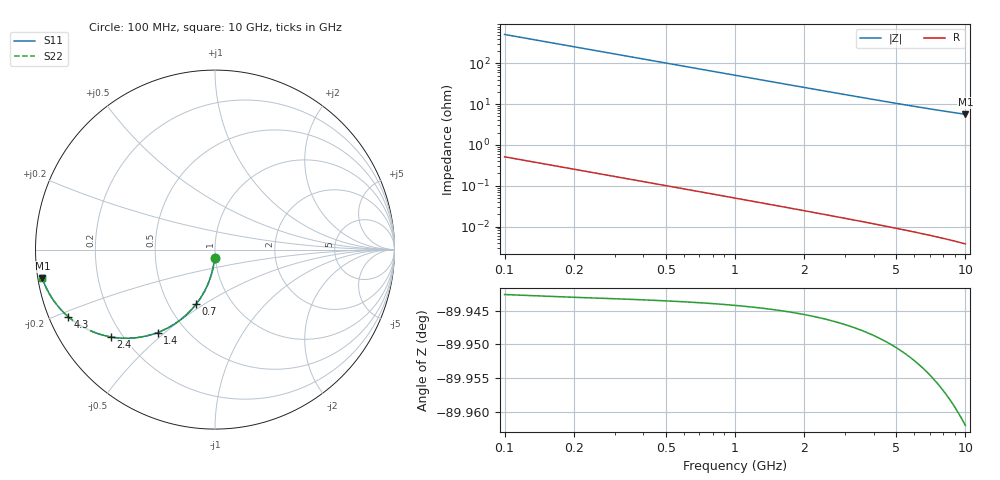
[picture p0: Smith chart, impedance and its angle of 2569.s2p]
# Hz S RI R 50.00
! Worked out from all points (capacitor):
!   100 points, 100 MHz to 10 GHz, reference 50 ohm
!   read as one part in shunt: C = 3.11 pF near 100 MHz
!   lowest |Z| = 5.65 ohm at 10 GHz (marker M1)
!   S11 on the Smith chart (normalised r, x): 100 MHz: 0.99, -0.10; 700 MHz: 0.68, -0.46; 1.4 GHz: 0.35, -0.47; 2.4 GHz: 0.16, -0.36; 4.3 GHz: 0.06, -0.22; 10 GHz: 0.01, -0.08
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1e8  -0.00237 -0.0485  0.9975 -0.049  0.9975 -0.049  -0.00237 -0.0485
2e8  -0.0095 -0.0963  0.9904 -0.0974  0.9904 -0.0974  -0.0095 -0.0963
3e8  -0.0211 -0.1427  0.9787 -0.1443  0.9787 -0.1443  -0.0211 -0.1427
4e8  -0.0369 -0.1872  0.9629 -0.1893  0.9629 -0.1893  -0.0369 -0.1872
5e8  -0.0565 -0.2292  0.9433 -0.2319  0.9433 -0.2319  -0.0565 -0.2292
6e8  -0.0794 -0.2684  0.9205 -0.2715  0.9205 -0.2715  -0.0794 -0.2684
7e8  -0.105 -0.3043  0.8949 -0.308  0.8949 -0.308  -0.105 -0.3043
8e8  -0.1329 -0.3369  0.867 -0.3411  0.867 -0.3411  -0.1329 -0.3369
1e9  -0.1931 -0.3916  0.8068 -0.3969  0.8068 -0.3969  -0.1931 -0.3916
1.2e9  -0.2562 -0.4329  0.7436 -0.4393  0.7436 -0.4393  -0.2562 -0.4329
1.4e9  -0.3192 -0.462  0.6806 -0.4694  0.6806 -0.4694  -0.3192 -0.462
1.8e9  -0.4366 -0.4907  0.5632 -0.5003  0.5632 -0.5003  -0.4366 -0.4907
2.1e9  -0.5134 -0.4937  0.4864 -0.5049  0.4864 -0.5049  -0.5134 -0.4937
2.4e9  -0.5796 -0.4867  0.4202 -0.4995  0.4202 -0.4995  -0.5796 -0.4867
2.9e9  -0.6683 -0.4625  0.3315 -0.4781  0.3315 -0.4781  -0.6683 -0.4625
3.4e9  -0.7349 -0.4316  0.2648 -0.4499  0.2648 -0.4499  -0.7349 -0.4316
3.8e9  -0.7762 -0.4059  0.2235 -0.4264  0.2235 -0.4264  -0.7762 -0.4059
4.3e9  -0.8165 -0.3747  0.1831 -0.3981  0.1831 -0.3981  -0.8165 -0.3747
5.1e9  -0.8627 -0.3294  0.1368 -0.3573  0.1368 -0.3573  -0.8627 -0.3294
6.7e9  -0.9163 -0.2571  0.0828 -0.2944  0.0828 -0.2944  -0.9163 -0.2571
8.4e9  -0.9457 -0.2009  0.053 -0.2485  0.053 -0.2485  -0.9457 -0.2009
1e10  -0.9615 -0.1606  0.0366 -0.2185  0.0366 -0.2185  -0.9615 -0.1606
